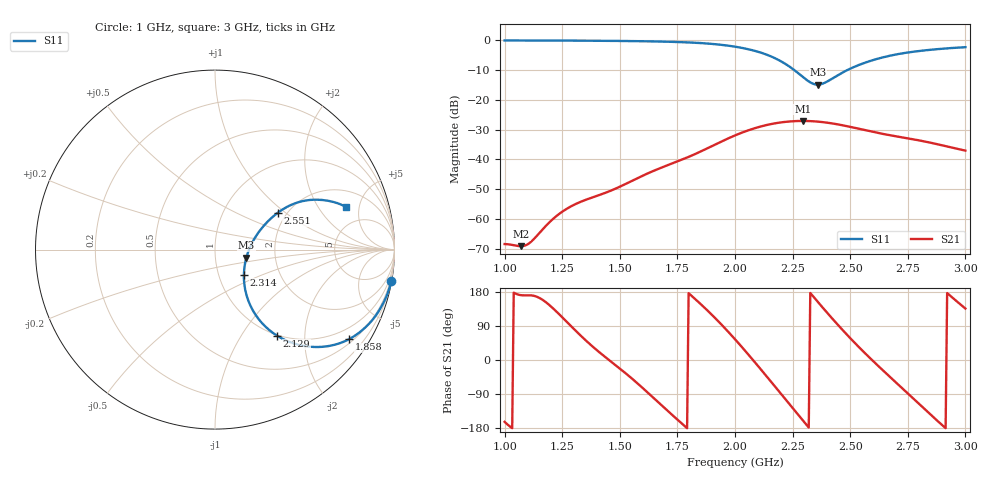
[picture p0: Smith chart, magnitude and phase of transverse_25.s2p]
! TOUCHSTONE file generated by CST MICROWAVE STUDIO
! Date and time: Tue Mar 11 13:55:55 2025
! Project name: transverse.cst
! Parameters = {Fracture=1; B=10; D=160; F=25; Feed=2.85625; L=100; M=10; R=0.384908; S=1; Theta=0; length=57.125; wave=114.25}
! Header version: 2024
! Port assignment regex: !\s*Touchstone port\s*([0-9]+)\s*=\s*(CST MWS port|CST DES external port|CST DES block port)\s*(.+)\s* \(\"(.*)\"\)(\s*mode\s*([0-9]+))?.*
! Touchstone port assignment:
! Touchstone port 1 = CST MWS port 1 ("")
! Touchstone port 2 = CST MWS port 2 ("")
# GHz S MA R 50
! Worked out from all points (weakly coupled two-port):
!   304 points, 1 GHz to 3 GHz, reference 50 ohm
!   highest |S21| = -27.09 dB at 2.294 GHz (marker M1); lowest = -69.2 dB at 1.073 GHz (marker M2)
!   lowest |S11| = -14.9 dB at 2.36 GHz (marker M3), VSWR 1.44, Z = 70.8 - j6.53 ohm
!   |S11| at or under -10 dB: 2.257 GHz to 2.487 GHz (229.5 MHz wide, 9.67 % of centre)
!   S12 and S22 are empty: the file has one direction only
!   S11 on the Smith chart (normalised r, x): 1 GHz: 0, -11; 1.858 GHz: 0.62, -3.19; 2.129 GHz: 0.99, -1.46; 2.314 GHz: 1.32, -0.38; 2.551 GHz: 1.80, +0.88; 3 GHz: 3.19, +3.69
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1  0.9976 -10.0  0.0003761 -163.3  0 0.0  0 0.0
1.07261  0.9969 -11.0  0.0003466 170.9  0 0.0  0 0.0
1.11221  0.9963 -11.6  0.0004031 170.6  0 0.0  0 0.0
1.19142  0.9943 -12.9  0.0008508 146.5  0 0.0  0 0.0
1.23762  0.9929 -13.7  0.001215 120.3  0 0.0  0 0.0
1.33663  0.9893 -15.5  0.001977 60.6  0 0.0  0 0.0
1.46865  0.9811 -18.5  0.003059 -7.4  0 0.0  0 0.0
1.66667  0.9584 -24.5  0.006894 -111.3  0 0.0  0 0.0
1.85809  0.8982 -33.8  0.01396 143.6  0 0.0  0 0.0
2.0033  0.7804 -44.1  0.02555 52.6  0 0.0  0 0.0
2.12871  0.5924 -54.2  0.03708 -36.9  0 0.0  0 0.0
2.21452  0.412 -58.1  0.0425 -100.4  0 0.0  0 0.0
2.29373  0.2441 -48.3  0.04422 -159.0  0 0.0  0 0.0
2.31353  0.2128 -40.8  0.04411 -173.5  0 0.0  0 0.0
2.33993  0.1861 -26.7  0.04364 167.4  0 0.0  0 0.0
2.35974  0.1803 -14.3  0.04305 153.1  0 0.0  0 0.0
2.39274  0.1965 4.3  0.0417 129.8  0 0.0  0 0.0
2.44554  0.2589 21.3  0.03875 93.5  0 0.0  0 0.0
2.55116  0.4041 30.4  0.03178 25.8  0 0.0  0 0.0
2.66997  0.5499 29.2  0.02553 -43.1  0 0.0  0 0.0
2.82178  0.6785 23.8  0.02002 -129.0  0 0.0  0 0.0
3  0.7686 17.9  0.01403 135.8  0 0.0  0 0.0
